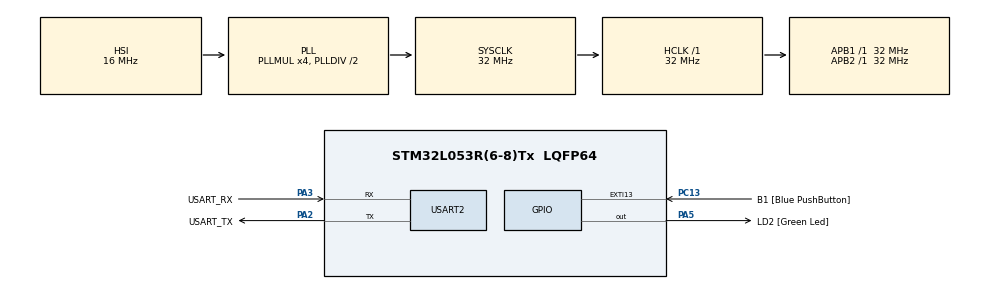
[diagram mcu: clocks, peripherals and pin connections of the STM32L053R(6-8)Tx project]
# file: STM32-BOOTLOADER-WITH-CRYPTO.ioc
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Dma.Request0=USART2_RX
Dma.USART2_RX.0.Direction=DMA_PERIPH_TO_MEMORY
Dma.USART2_RX.0.Instance=DMA1_Channel5
Dma.USART2_RX.0.MemDataAlignment=DMA_MDATAALIGN_BYTE
Dma.USART2_RX.0.MemInc=DMA_MINC_ENABLE
Dma.USART2_RX.0.Mode=DMA_CIRCULAR
Dma.USART2_RX.0.PeriphDataAlignment=DMA_PDATAALIGN_BYTE
Dma.USART2_RX.0.PeriphInc=DMA_PINC_DISABLE
Dma.USART2_RX.0.Priority=DMA_PRIORITY_VERY_HIGH
Mcu.Family=STM32L0
Mcu.Name=STM32L053R(6-8)Tx
Mcu.Package=LQFP64
NVIC.DMA1_Channel4_5_6_7_IRQn=true\:0\:0\:false\:false\:true\:false\:true\:true
NVIC.USART2_IRQn=true\:0\:0\:false\:false\:true\:true\:true\:true
PA13.GPIO_Label=TMS
PA13.Mode=Serial_Wire
PA13.Signal=SYS_SWDIO
PA14.GPIO_Label=TCK
PA14.Mode=Serial_Wire
PA14.Signal=SYS_SWCLK
PA2.GPIO_Label=USART_TX
PA2.Mode=Asynchronous
PA2.Signal=USART2_TX
PA3.GPIO_Label=USART_RX
PA3.Mode=Asynchronous
PA3.Signal=USART2_RX
PA5.GPIO_Label=LD2 [Green Led]
PA5.Signal=GPIO_Output
PC13.GPIO_Label=B1 [Blue PushButton]
PC13.GPIO_ModeDefaultEXTI=GPIO_MODE_IT_FALLING
PC13.Signal=GPXTI13
PC14-OSC32_IN.Mode=LSE-External-Oscillator
PC14-OSC32_IN.Signal=RCC_OSC32_IN
PC15-OSC32_OUT.Mode=LSE-External-Oscillator
PC15-OSC32_OUT.Signal=RCC_OSC32_OUT
PH0-OSC_IN.Mode=HSE-External-Clock-Source
PH0-OSC_IN.Signal=RCC_OSC_IN
PH1-OSC_OUT.Signal=RCC_OSC_OUT
ProjectManager.HeapSize=0x200
ProjectManager.StackSize=0x400
ProjectManager.TargetToolchain=CMake
RCC.AHBFreq_Value=32000000
RCC.APB1Freq_Value=32000000
RCC.APB1TimFreq_Value=32000000
RCC.APB2Freq_Value=32000000
RCC.APB2TimFreq_Value=32000000
RCC.HCLKFreq_Value=32000000
RCC.HSE_VALUE=8000000
RCC.HSI16_VALUE=16000000
RCC.HSI48_VALUE=48000000
RCC.HSI_VALUE=16000000
RCC.MSI_VALUE=2097000
RCC.PLLMUL=RCC_PLLMUL_4
RCC.SYSCLKFreq_VALUE=32000000
RCC.SYSCLKSource=RCC_SYSCLKSOURCE_PLLCLK
RCC.VCOOutputFreq_Value=64000000
USART2.VirtualMode-Asynchronous=VM_ASYNC
VP_CRC_VS_CRC.Mode=CRC_Activate
VP_wolfSSL.I-CUBE-wolfSSL_VS_wolfSSLJjwolfSSL_5.9.1_5.9.1.Mode=wolfSSLJjwolfSSL
board=NUCLEO-L053R8
wolfSSL.I-CUBE-wolfSSL.5.9.1.wolfSSLCcwolfSSLJjwolfCryptJjCore=true
wolfSSL.I-CUBE-wolfSSL.5.9.1.wolfSSLCcwolfSSLJjwolfCryptJjTest=true
wolfSSL.I-CUBE-wolfSSL.5.9.1.wolfSSLCcwolfSSLJjwolfSSLJjCore=true

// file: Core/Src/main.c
/* USER CODE BEGIN Header */
/**
  ******************************************************************************
  * @file           : main.c
  * @brief          : Main program body
  ******************************************************************************
  * @attention
  *
  * Copyright (c) 2026 STMicroelectronics.
  * All rights reserved.
  *
  * This software is licensed under terms that can be found in the LICENSE file
  * in the root directory of this software component.
  * If no LICENSE file comes with this software, it is provided AS-IS.
  *
  ******************************************************************************
  */
/* USER CODE END Header */
#include "main.h"

/* USER CODE BEGIN Includes */
#include "transport-layer.h"
#include "crc8.h"
#include "ring-buffer.h"
#include "crypto.h"
#include <stdint.h>
/* USER CODE END Includes */

/* USER CODE BEGIN PTD */
typedef struct TIMER_TypeDef {
    uint32_t WAIT_TIME;
    uint32_t TARGET_TIME;
    bool AUTO_RESET;
    bool HAS_ELAPSED;
} TIMER_TypeDef;

typedef enum AL_State_TypeDef {
    AL_State_Sync,
    AL_State_WaitForUpdateRequest,
	AL_State_ReceiveFirmwareHeader,
    AL_State_EraseFlash,
    AL_State_ReceiveFirmware,
	AL_State_VerifyFirmwareSignature,
    AL_State_Done
} AL_State_TypeDef;

typedef void (*pFunction)(void);
/* USER CODE END PTD */

CRC_HandleTypeDef hcrc;

UART_HandleTypeDef huart2;
DMA_HandleTypeDef hdma_usart2_rx;

/* USER CODE BEGIN PV */
static AL_State_TypeDef al_state = AL_State_Sync;
static TL_Packet_TypeDef temp_packet;

static TIMER_TypeDef timer;
static uint32_t bytes_written = 0;
static uint8_t sync_seq[4] = {0U};

static RB_TypeDef ring_buffer = {
	.buffer = 0,
	.mask = 0,
	.read_index = 0,
	.write_index = 0
};

static uint8_t data_buffer[128] = {0U};

static FLASH_EraseInitTypeDef pEraseInit = {
	.TypeErase   = FLASH_TYPEERASE_PAGES,
	.PageAddress = FIRMWARE_IMAGE_START_ADDRESS_BANK_2,
	.NbPages	 = 176
};

static uint32_t PageError = 0;

static uint32_t firmware_header_byte_receive = 0;

static FirmwareHeader_TypeDef* firmware_header_bank_1 = (FirmwareHeader_TypeDef*)(FIRMWARE_IMAGE_START_ADDRESS_BANK_1);
static FirmwareHeader_TypeDef  firmware_header_bank_1_tmp = {0};
/* USER CODE END PV */

void SystemClock_Config(void);
static void MX_GPIO_Init(void);
static void MX_DMA_Init(void);
static void MX_USART2_UART_Init(void);
static void MX_CRC_Init(void);
/* USER CODE BEGIN PFP */
static void Main_Firmware(void);
static void TIMER_Init(TIMER_TypeDef* timer, uint32_t WAIT_TIME, bool AUTO_RESET);
static void TIMER_Reset(TIMER_TypeDef* timer);
static bool TIMER_Is_Elapsed(TIMER_TypeDef* timer);

// void HAL_UART_RxCpltCallback(UART_HandleTypeDef *huart);
/* USER CODE END PFP */

int main(void)
{

  	/* MCU Configuration--------------------------------------------------------*/

  	/* Reset of all peripherals, Initializes the Flash interface and the Systick. */
  	HAL_Init();

  	/* Configure the system clock */
  	SystemClock_Config();

  	/* Initialize all configured peripherals */
  	MX_GPIO_Init();
  	MX_DMA_Init();
  	MX_USART2_UART_Init();
  	MX_CRC_Init();
 	/* USER CODE BEGIN 2 */
	TIMER_Init(&timer, DEFAULT_TIMEOUT, false);
	TL_Init();
	RB_Init(&ring_buffer, data_buffer, 128);
	// HAL_UART_Receive_IT(&huart2, uart_rx_temp, 1);
	HAL_UART_Receive_DMA(&huart2, ring_buffer.buffer, 128);
  	/* USER CODE END 2 */

  	/* Infinite loop */
  	/* USER CODE BEGIN WHILE */
	while (al_state != AL_State_Done)
	{
    /* USER CODE END WHILE */

    /* USER CODE BEGIN 3 */
		if (al_state == AL_State_Sync) {
			// ASK THE DMA HARDWARE HOW MANY BYTES ARE LEFT TO TRANSFER
    		uint32_t current_ndtr = __HAL_DMA_GET_COUNTER(huart2.hdmarx);
    		// SYNCHRONIZE OUR SOFTWARE write_index TO MATCH THE HARDWARE
    		RB_Sync_Write_Index(&ring_buffer, current_ndtr);

            if (!RB_Is_Empty(&ring_buffer)) {
                sync_seq[0] = sync_seq[1];
                sync_seq[1] = sync_seq[2];
                sync_seq[2] = sync_seq[3];
				RB_Read(&ring_buffer, &sync_seq[3]);

                bool is_match = sync_seq[0] == SYNC_SEQ_0;
                is_match = is_match && (sync_seq[1] == SYNC_SEQ_1);
                is_match = is_match && (sync_seq[2] == SYNC_SEQ_2);
                is_match = is_match && (sync_seq[3] == SYNC_SEQ_3);

                if (is_match) {
                    TL_PACKET_Create_Message(&temp_packet, AL_MESSAGE_SEQUENCE_OBSERVED);
                    TL_Write(&temp_packet);
					TIMER_Reset(&timer);
                    al_state = AL_State_WaitForUpdateRequest;
                } else {
                    if (TIMER_Is_Elapsed(&timer)) {
                        al_state = AL_State_Done;
                        continue;
                    } else {
                        continue;
                    }
                }
            } else {
                if (TIMER_Is_Elapsed(&timer)) {
                    al_state = AL_State_Done;
                    continue;
                } else {
                    continue;
                }
            }
        }

        TL_Update(&ring_buffer);

        switch (al_state) {
            case AL_State_WaitForUpdateRequest: {
                if (TL_IS_Packet_Available()) {
                    TL_Read(&temp_packet);

                    if (TL_PACKET_VALIDATE_Message_Type(&temp_packet, AL_MESSAGE_FIRMWARE_UPDATE_REQUEST)) {
						uint8_t temp[8] = {0};
						memcpy(&temp[0], &firmware_header_bank_1->DeviceID, sizeof(uint32_t));
						memcpy(&temp[4], &firmware_header_bank_1->Version, sizeof(uint32_t));
						TL_PACKET_Create_MultiByte_Message(&temp_packet, temp, 8, AL_MESSAGE_SENT_CURRENT_FIRMWARE_VERSION);
                        TL_Write(&temp_packet);
                        al_state = AL_State_ReceiveFirmwareHeader;
                    } else {
                        continue;
                    }
                } else {
                    continue;
                }
            } break;

			case AL_State_ReceiveFirmwareHeader: {
				if (TL_IS_Packet_Available()) {
                    TL_Read(&temp_packet);

                    if (TL_PACKET_VALIDATE_Message_Type(&temp_packet, AL_MESSAGE_SENT_NEW_FIRMWARE_HEADER_DATA)) {
						memcpy((uint8_t*)(&firmware_header_bank_1_tmp) + firmware_header_byte_receive, &temp_packet.data[0], PACKET_DATA_BYTE_SIZE);
						TL_PACKET_Create_MultiByte_Message(
							&temp_packet,
							(uint8_t*)(&firmware_header_bank_1_tmp) + firmware_header_byte_receive,
							PACKET_DATA_BYTE_SIZE,
							AL_MESSAGE_RECEIVED_NEW_FIRMWARE_HEADER_DATA
						);
                        TL_Write(&temp_packet);
						firmware_header_byte_receive = firmware_header_byte_receive + PACKET_DATA_BYTE_SIZE;
						if (firmware_header_byte_receive == sizeof(FirmwareHeader_TypeDef)) {
							al_state = AL_State_EraseFlash;
						} else {
							continue;
						}
                    } else {
                        continue;
                    }
                } else {
                    continue;
                }
			} break;

            case AL_State_EraseFlash: {
				uint32_t* firmware_header_bank_1_tmp_ptr = (uint32_t*)&firmware_header_bank_1_tmp;
                uint32_t word_count = sizeof(FirmwareHeader_TypeDef) / 4;
                HAL_FLASH_Unlock();
                HAL_FLASHEx_Erase(&pEraseInit, &PageError);
				for (uint32_t i = 0; i < word_count; i++) {
                    HAL_FLASH_Program(FLASH_TYPEPROGRAM_WORD, FIRMWARE_IMAGE_START_ADDRESS_BANK_2 + (i * 4), firmware_header_bank_1_tmp_ptr[i]);
                }
                HAL_FLASH_Lock();
				TL_PACKET_Create_Message(&temp_packet, AL_MESSAGE_FIRMWARE_HEADER_WRITTEN);
                TL_Write(&temp_packet);
				al_state = AL_State_ReceiveFirmware;
            } break;

            case AL_State_ReceiveFirmware: {
                if (TL_IS_Packet_Available()) {
                    TL_Read(&temp_packet);

                    for (uint8_t i = 0; i < temp_packet.packet_data_size; i = i + 4) {
                        uint32_t firmware_data = (
                            (temp_packet.data[i])           |
                            (temp_packet.data[i + 1] << 8)  |
                            (temp_packet.data[i + 2] << 16) |
                            (temp_packet.data[i + 3] << 24)
                        );
                        HAL_FLASH_Unlock();
                        HAL_FLASH_Program(FLASH_TYPEPROGRAM_WORD, FIRMWARE_ENTRY_POINT_ADDRESS_BANK_2 + bytes_written, firmware_data);
                        HAL_FLASH_Lock();
                        bytes_written += 4;
                    }

                    if (bytes_written == firmware_header_bank_1_tmp.Size) {
						bytes_written = 0;
                   	 	al_state = AL_State_VerifyFirmwareSignature;
                    } else {
                        TL_PACKET_Create_Message(&temp_packet, AL_MESSAGE_RECEIVED_NEW_FIRMWARE_DATA);
                        TL_Write(&temp_packet);
                    }
                } else {
                    continue;
                }
            } break;

			case AL_State_VerifyFirmwareSignature: {
				if (Verify_Firmware_Signature(FIRMWARE_IMAGE_START_ADDRESS_BANK_2)) {
					HAL_FLASH_Unlock();
					pEraseInit.PageAddress = FIRMWARE_IMAGE_START_ADDRESS_BANK_1;
                	HAL_FLASHEx_Erase(&pEraseInit, &PageError);
					for (uint32_t i = 0; i < MAX_FIRMWARE_IMAGE_SIZE / 4; i++) {
						uint32_t firmware_data = *(((uint32_t*)FIRMWARE_IMAGE_START_ADDRESS_BANK_2) + i);
						HAL_FLASH_Program(FLASH_TYPEPROGRAM_WORD, FIRMWARE_IMAGE_START_ADDRESS_BANK_1 + bytes_written, firmware_data);
						bytes_written += 4;
					}
					pEraseInit.PageAddress = FIRMWARE_IMAGE_START_ADDRESS_BANK_2;
					HAL_FLASHEx_Erase(&pEraseInit, &PageError);
					HAL_FLASH_Lock();
					TL_PACKET_Create_Message(&temp_packet, AL_MESSAGE_UPDATE_SUCCESSFUL);
                	TL_Write(&temp_packet);
                    al_state = AL_State_Done;
				} else {
					pEraseInit.PageAddress = FIRMWARE_IMAGE_START_ADDRESS_BANK_2;
					HAL_FLASH_Unlock();
                	HAL_FLASHEx_Erase(&pEraseInit, &PageError);
					HAL_FLASH_Lock();
					TL_PACKET_Create_Message(&temp_packet, AL_MESSAGE_NACK);
                	TL_Write(&temp_packet);
                    al_state = AL_State_Done;
				}
			} break;

            default: {
                al_state = AL_State_Sync;
            }
        }
	}

	HAL_Delay(1000);
	Main_Firmware();
  	/* USER CODE END 3 */
}

void SystemClock_Config(void)
{
	RCC_OscInitTypeDef RCC_OscInitStruct = {0};
	RCC_ClkInitTypeDef RCC_ClkInitStruct = {0};
	RCC_PeriphCLKInitTypeDef PeriphClkInit = {0};

	/** Configure the main internal regulator output voltage
	*/
	__HAL_PWR_VOLTAGESCALING_CONFIG(PWR_REGULATOR_VOLTAGE_SCALE1);

	/** Initializes the RCC Oscillators according to the specified parameters
	* in the RCC_OscInitTypeDef structure.
	*/
	RCC_OscInitStruct.OscillatorType = RCC_OSCILLATORTYPE_HSI;
	RCC_OscInitStruct.HSIState = RCC_HSI_ON;
	RCC_OscInitStruct.HSICalibrationValue = RCC_HSICALIBRATION_DEFAULT;
	RCC_OscInitStruct.PLL.PLLState = RCC_PLL_ON;
	RCC_OscInitStruct.PLL.PLLSource = RCC_PLLSOURCE_HSI;
	RCC_OscInitStruct.PLL.PLLMUL = RCC_PLLMUL_4;
	RCC_OscInitStruct.PLL.PLLDIV = RCC_PLLDIV_2;
	if (HAL_RCC_OscConfig(&RCC_OscInitStruct) != HAL_OK)
	{
		Error_Handler();
	}

	/** Initializes the CPU, AHB and APB buses clocks
	*/
	RCC_ClkInitStruct.ClockType =
		RCC_CLOCKTYPE_HCLK   |
		RCC_CLOCKTYPE_SYSCLK |
		RCC_CLOCKTYPE_PCLK1	 |
		RCC_CLOCKTYPE_PCLK2;
	RCC_ClkInitStruct.SYSCLKSource = RCC_SYSCLKSOURCE_PLLCLK;
	RCC_ClkInitStruct.AHBCLKDivider = RCC_SYSCLK_DIV1;
	RCC_ClkInitStruct.APB1CLKDivider = RCC_HCLK_DIV1;
	RCC_ClkInitStruct.APB2CLKDivider = RCC_HCLK_DIV1;

	if (HAL_RCC_ClockConfig(&RCC_ClkInitStruct, FLASH_LATENCY_1) != HAL_OK)
	{
		Error_Handler();
	}
	PeriphClkInit.PeriphClockSelection = RCC_PERIPHCLK_USART2;
	PeriphClkInit.Usart2ClockSelection = RCC_USART2CLKSOURCE_PCLK1;
	if (HAL_RCCEx_PeriphCLKConfig(&PeriphClkInit) != HAL_OK)
	{
		Error_Handler();
	}
}

static void MX_CRC_Init(void)
{

	hcrc.Instance = CRC;
	hcrc.Init.DefaultPolynomialUse = DEFAULT_POLYNOMIAL_ENABLE;
	hcrc.Init.DefaultInitValueUse = DEFAULT_INIT_VALUE_ENABLE;
	hcrc.Init.InputDataInversionMode = CRC_INPUTDATA_INVERSION_NONE;
	hcrc.Init.OutputDataInversionMode = CRC_OUTPUTDATA_INVERSION_DISABLE;
	hcrc.InputDataFormat = CRC_INPUTDATA_FORMAT_BYTES;
	if (HAL_CRC_Init(&hcrc) != HAL_OK)
	{
		Error_Handler();
	}
}

static void MX_USART2_UART_Init(void)
{

	huart2.Instance = USART2;
	huart2.Init.BaudRate = 115200;
	huart2.Init.WordLength = UART_WORDLENGTH_8B;
	huart2.Init.StopBits = UART_STOPBITS_1;
	huart2.Init.Parity = UART_PARITY_NONE;
	huart2.Init.Mode = UART_MODE_TX_RX;
	huart2.Init.HwFlowCtl = UART_HWCONTROL_NONE;
	huart2.Init.OverSampling = UART_OVERSAMPLING_16;
	huart2.Init.OneBitSampling = UART_ONE_BIT_SAMPLE_DISABLE;
	huart2.AdvancedInit.AdvFeatureInit = UART_ADVFEATURE_NO_INIT;
	if (HAL_UART_Init(&huart2) != HAL_OK)
	{
		Error_Handler();
	}
}

static void MX_DMA_Init(void)
{
	/* DMA controller clock enable */
	__HAL_RCC_DMA1_CLK_ENABLE();

	/* DMA interrupt init */
	/* DMA1_Channel4_5_6_7_IRQn interrupt configuration */
	HAL_NVIC_SetPriority(DMA1_Channel4_5_6_7_IRQn, 0, 0);
	HAL_NVIC_EnableIRQ(DMA1_Channel4_5_6_7_IRQn);
}

static void MX_GPIO_Init(void)
{
	GPIO_InitTypeDef GPIO_InitStruct = {0};

	/* GPIO Ports Clock Enable */
	__HAL_RCC_GPIOC_CLK_ENABLE();
	__HAL_RCC_GPIOH_CLK_ENABLE();
	__HAL_RCC_GPIOA_CLK_ENABLE();

	/*Configure GPIO pin Output Level */
	HAL_GPIO_WritePin(LD2_GPIO_Port, LD2_Pin, GPIO_PIN_RESET);

	/*Configure GPIO pin : B1_Pin */
	GPIO_InitStruct.Pin = B1_Pin;
	GPIO_InitStruct.Mode = GPIO_MODE_IT_FALLING;
	GPIO_InitStruct.Pull = GPIO_NOPULL;
	HAL_GPIO_Init(B1_GPIO_Port, &GPIO_InitStruct);

	/*Configure GPIO pin : LD2_Pin */
	GPIO_InitStruct.Pin = LD2_Pin;
	GPIO_InitStruct.Mode = GPIO_MODE_OUTPUT_PP;
	GPIO_InitStruct.Pull = GPIO_NOPULL;
	GPIO_InitStruct.Speed = GPIO_SPEED_FREQ_LOW;
	HAL_GPIO_Init(LD2_GPIO_Port, &GPIO_InitStruct);

}

/* USER CODE BEGIN 4 */
static void Main_Firmware(void) {
	VectorTable_TypeDef* vector_table = (VectorTable_TypeDef*)FIRMWARE_ENTRY_POINT_ADDRESS_BANK_1;
	__HAL_RCC_DMA1_CLK_ENABLE();
    __disable_irq();
    HAL_DeInit();
	HAL_RCC_DeInit();
    vector_table->Reset_Handler();
}

static void TIMER_Init(TIMER_TypeDef* timer, uint32_t WAIT_TIME, bool AUTO_RESET) {
    timer->WAIT_TIME = WAIT_TIME;
    timer->AUTO_RESET = AUTO_RESET;
    timer->TARGET_TIME = HAL_GetTick() + WAIT_TIME;
    timer->HAS_ELAPSED = false;
}

static void TIMER_Reset(TIMER_TypeDef* timer) {
    TIMER_Init(timer, timer->WAIT_TIME, timer->AUTO_RESET);
}

static bool TIMER_Is_Elapsed(TIMER_TypeDef* timer) {
    uint32_t now = HAL_GetTick();
    bool HAS_ELAPSED = now >= timer->TARGET_TIME;

    if (timer->HAS_ELAPSED) return false;

    if (HAS_ELAPSED) {
        if (timer->AUTO_RESET) {
            uint32_t drift = now - timer->TARGET_TIME;
            timer->TARGET_TIME = (now + timer->WAIT_TIME) - drift;
        } else {
            timer->HAS_ELAPSED = true;
        }
    }

    return HAS_ELAPSED;
}
/* USER CODE END 4 */

void Error_Handler(void)
{
	__disable_irq();
	while (1)
	{
	}
}
